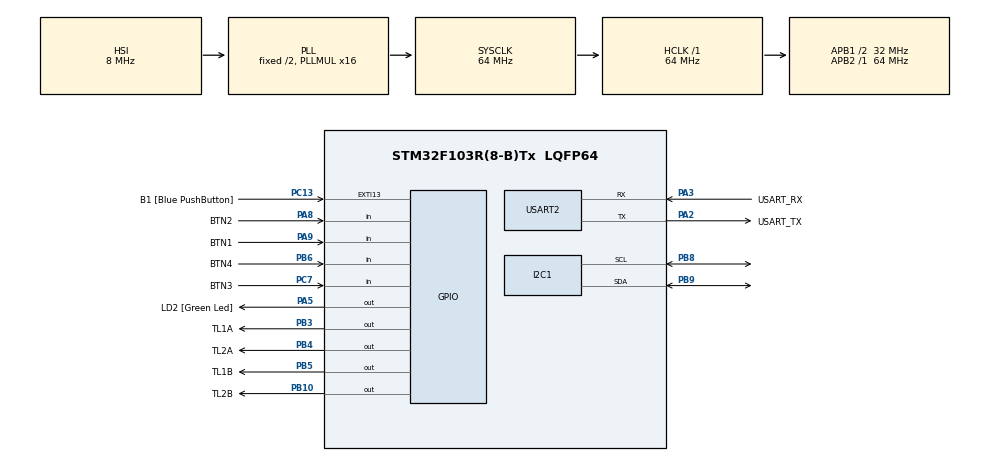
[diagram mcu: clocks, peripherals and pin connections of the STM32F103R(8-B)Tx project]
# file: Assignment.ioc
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Mcu.Family=STM32F1
Mcu.Name=STM32F103R(8-B)Tx
Mcu.Package=LQFP64
NVIC.EXTI15_10_IRQn=true\:0\:0\:false\:false\:true\:true\:true
NVIC.PriorityGroup=NVIC_PRIORITYGROUP_4
NVIC.TIM2_IRQn=true\:0\:0\:false\:false\:true\:true\:true
PA13.GPIO_Label=TMS
PA13.Mode=Serial_Wire
PA13.Signal=SYS_JTMS-SWDIO
PA14.GPIO_Label=TCK
PA14.Mode=Serial_Wire
PA14.Signal=SYS_JTCK-SWCLK
PA2.GPIO_Label=USART_TX
PA2.GPIO_Mode=GPIO_MODE_AF_PP
PA2.GPIO_PuPd=GPIO_NOPULL
PA2.GPIO_Speed=GPIO_SPEED_FREQ_LOW
PA2.Mode=Asynchronous
PA2.Signal=USART2_TX
PA3.GPIO_Label=USART_RX
PA3.GPIO_Mode=GPIO_MODE_AF_PP
PA3.GPIO_PuPd=GPIO_NOPULL
PA3.GPIO_Speed=GPIO_SPEED_FREQ_LOW
PA3.Mode=Asynchronous
PA3.Signal=USART2_RX
PA5.GPIO_Label=LD2 [Green Led]
PA5.GPIO_ModeDefaultOutputPP=GPIO_MODE_OUTPUT_PP
PA5.GPIO_PuPd=GPIO_NOPULL
PA5.GPIO_Speed=GPIO_SPEED_FREQ_LOW
PA5.Signal=GPIO_Output
PA8.GPIO_Label=BTN2
PA8.Signal=GPIO_Input
PA9.GPIO_Label=BTN1
PA9.Signal=GPIO_Input
PB10.GPIO_Label=TL2B
PB10.Signal=GPIO_Output
PB3.GPIO_Label=TL1A
PB3.Signal=GPIO_Output
PB4.GPIO_Label=TL2A
PB4.Signal=GPIO_Output
PB5.GPIO_Label=TL1B
PB5.Signal=GPIO_Output
PB6.GPIO_Label=BTN4
PB6.Signal=GPIO_Input
PB8.Mode=I2C
PB8.Signal=I2C1_SCL
PB9.Mode=I2C
PB9.Signal=I2C1_SDA
PC13-TAMPER-RTC.GPIO_Label=B1 [Blue PushButton]
PC13-TAMPER-RTC.GPIO_PuPd=GPIO_NOPULL
PC13-TAMPER-RTC.Signal=GPXTI13
PC14-OSC32_IN.Mode=LSE-External-Oscillator
PC14-OSC32_IN.Signal=RCC_OSC32_IN
PC15-OSC32_OUT.Mode=LSE-External-Oscillator
PC15-OSC32_OUT.Signal=RCC_OSC32_OUT
PC7.GPIO_Label=BTN3
PC7.Signal=GPIO_Input
PD0-OSC_IN.Mode=HSE-External-Clock-Source
PD0-OSC_IN.Signal=RCC_OSC_IN
PD1-OSC_OUT.Mode=HSE-External-Clock-Source
PD1-OSC_OUT.Signal=RCC_OSC_OUT
ProjectManager.HeapSize=0x200
ProjectManager.StackSize=0x400
ProjectManager.TargetToolchain=STM32CubeIDE
RCC.AHBFreq_Value=64000000
RCC.APB1CLKDivider=RCC_HCLK_DIV2
RCC.APB1Freq_Value=32000000
RCC.APB1TimFreq_Value=64000000
RCC.APB2Freq_Value=64000000
RCC.APB2TimFreq_Value=64000000
RCC.HCLKFreq_Value=64000000
RCC.PLLMUL=RCC_PLL_MUL16
RCC.RTCClockSelection=RCC_RTCCLKSOURCE_LSE
RCC.SYSCLKFreq_VALUE=64000000
RCC.SYSCLKSource=RCC_SYSCLKSOURCE_PLLCLK
RCC.USBFreq_Value=64000000
TIM2.Period=79
TIM2.Prescaler=7999
USART2.VirtualMode=VM_ASYNC
VP_TIM2_VS_ClockSourceINT.Mode=Internal
board=NUCLEO-F103RB

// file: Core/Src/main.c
/* USER CODE BEGIN Header */
/**
  ******************************************************************************
  * @file           : main.c
  * @brief          : Main program body
  ******************************************************************************
  * @attention
  *
  * <h2><center>&copy; Copyright (c) 2026 STMicroelectronics.
  * All rights reserved.</center></h2>
  *
  * This software component is licensed by ST under BSD 3-Clause license,
  * the "License"; You may not use this file except in compliance with the
  * License. You may obtain a copy of the License at:
  *                        opensource.org/licenses/BSD-3-Clause
  *
  ******************************************************************************
  */
/* USER CODE END Header */
#include "main.h"

/* USER CODE BEGIN Includes */
#include "scheduler.h"
#include "software_timer.h"
#include "button.h"
#include "fsm_mode.h"
#include "lcd.h"
#include "dht20.h"
#include "display.h"
/* USER CODE END Includes */

I2C_HandleTypeDef hi2c1;

TIM_HandleTypeDef htim2;

UART_HandleTypeDef huart2;

void SystemClock_Config(void);
static void MX_GPIO_Init(void);
static void MX_USART2_UART_Init(void);
static void MX_I2C1_Init(void);
static void MX_TIM2_Init(void);
/* USER CODE BEGIN PFP */
void lcd_task_ui(void);
/* USER CODE END PFP */

/* USER CODE BEGIN 0 */
void log_msg(const char *s);
/* USER CODE END 0 */

int main(void)
{

  /* MCU Configuration--------------------------------------------------------*/

  /* Reset of all peripherals, Initializes the Flash interface and the Systick. */
  HAL_Init();

  /* Configure the system clock */
  SystemClock_Config();

  /* Initialize all configured peripherals */
  MX_GPIO_Init();
  MX_USART2_UART_Init();
  MX_I2C1_Init();
  MX_TIM2_Init();
  /* USER CODE BEGIN 2 */
  lcd_init();                              // dùng HAL_Delay -> làm trước khi bật timer
  dht20_init();

  SCH_Init();
  SCH_Add_Task(timer_run,     0,  1);
  SCH_Add_Task(button_scan,   0,  1);
  SCH_Add_Task(fsm_mode_run,  0,  1);
  SCH_Add_Task(dht20_trigger, 0,  200);    // đo mỗi 2 s
  SCH_Add_Task(lcd_task_env,  50, 100);    // hàng dưới mỗi 1 s
  SCH_Add_Task(lcd_task_mode, 20, 10);     // hàng trên mỗi 100 ms

  fsm_mode_init();                         // hook ghi LCD, nên phải sau lcd_init()
  HAL_TIM_Base_Start_IT(&htim2);           // bật tick cuối cùng
  /* USER CODE END 2 */

  /* Infinite loop */
  while (1)
  {
	  SCH_Dispatch_Tasks();
  }
}

void SystemClock_Config(void)
{
  RCC_OscInitTypeDef RCC_OscInitStruct = {0};
  RCC_ClkInitTypeDef RCC_ClkInitStruct = {0};

  /** Initializes the RCC Oscillators according to the specified parameters
  * in the RCC_OscInitTypeDef structure.
  */
  RCC_OscInitStruct.OscillatorType = RCC_OSCILLATORTYPE_HSI;
  RCC_OscInitStruct.HSIState = RCC_HSI_ON;
  RCC_OscInitStruct.HSICalibrationValue = RCC_HSICALIBRATION_DEFAULT;
  RCC_OscInitStruct.PLL.PLLState = RCC_PLL_ON;
  RCC_OscInitStruct.PLL.PLLSource = RCC_PLLSOURCE_HSI_DIV2;
  RCC_OscInitStruct.PLL.PLLMUL = RCC_PLL_MUL16;
  if (HAL_RCC_OscConfig(&RCC_OscInitStruct) != HAL_OK)
  {
    Error_Handler();
  }
  /** Initializes the CPU, AHB and APB buses clocks
  */
  RCC_ClkInitStruct.ClockType = RCC_CLOCKTYPE_HCLK|RCC_CLOCKTYPE_SYSCLK
                              |RCC_CLOCKTYPE_PCLK1|RCC_CLOCKTYPE_PCLK2;
  RCC_ClkInitStruct.SYSCLKSource = RCC_SYSCLKSOURCE_PLLCLK;
  RCC_ClkInitStruct.AHBCLKDivider = RCC_SYSCLK_DIV1;
  RCC_ClkInitStruct.APB1CLKDivider = RCC_HCLK_DIV2;
  RCC_ClkInitStruct.APB2CLKDivider = RCC_HCLK_DIV1;

  if (HAL_RCC_ClockConfig(&RCC_ClkInitStruct, FLASH_LATENCY_2) != HAL_OK)
  {
    Error_Handler();
  }
}

static void MX_I2C1_Init(void)
{

  hi2c1.Instance = I2C1;
  hi2c1.Init.ClockSpeed = 100000;
  hi2c1.Init.DutyCycle = I2C_DUTYCYCLE_2;
  hi2c1.Init.OwnAddress1 = 0;
  hi2c1.Init.AddressingMode = I2C_ADDRESSINGMODE_7BIT;
  hi2c1.Init.DualAddressMode = I2C_DUALADDRESS_DISABLE;
  hi2c1.Init.OwnAddress2 = 0;
  hi2c1.Init.GeneralCallMode = I2C_GENERALCALL_DISABLE;
  hi2c1.Init.NoStretchMode = I2C_NOSTRETCH_DISABLE;
  if (HAL_I2C_Init(&hi2c1) != HAL_OK)
  {
    Error_Handler();
  }

}

static void MX_TIM2_Init(void)
{

  TIM_ClockConfigTypeDef sClockSourceConfig = {0};
  TIM_MasterConfigTypeDef sMasterConfig = {0};

  htim2.Instance = TIM2;
  htim2.Init.Prescaler = 7999;
  htim2.Init.CounterMode = TIM_COUNTERMODE_UP;
  htim2.Init.Period = 79;
  htim2.Init.ClockDivision = TIM_CLOCKDIVISION_DIV1;
  htim2.Init.AutoReloadPreload = TIM_AUTORELOAD_PRELOAD_DISABLE;
  if (HAL_TIM_Base_Init(&htim2) != HAL_OK)
  {
    Error_Handler();
  }
  sClockSourceConfig.ClockSource = TIM_CLOCKSOURCE_INTERNAL;
  if (HAL_TIM_ConfigClockSource(&htim2, &sClockSourceConfig) != HAL_OK)
  {
    Error_Handler();
  }
  sMasterConfig.MasterOutputTrigger = TIM_TRGO_RESET;
  sMasterConfig.MasterSlaveMode = TIM_MASTERSLAVEMODE_DISABLE;
  if (HAL_TIMEx_MasterConfigSynchronization(&htim2, &sMasterConfig) != HAL_OK)
  {
    Error_Handler();
  }

}

static void MX_USART2_UART_Init(void)
{

  huart2.Instance = USART2;
  huart2.Init.BaudRate = 115200;
  huart2.Init.WordLength = UART_WORDLENGTH_8B;
  huart2.Init.StopBits = UART_STOPBITS_1;
  huart2.Init.Parity = UART_PARITY_NONE;
  huart2.Init.Mode = UART_MODE_TX_RX;
  huart2.Init.HwFlowCtl = UART_HWCONTROL_NONE;
  huart2.Init.OverSampling = UART_OVERSAMPLING_16;
  if (HAL_UART_Init(&huart2) != HAL_OK)
  {
    Error_Handler();
  }

}

static void MX_GPIO_Init(void)
{
  GPIO_InitTypeDef GPIO_InitStruct = {0};

  /* GPIO Ports Clock Enable */
  __HAL_RCC_GPIOC_CLK_ENABLE();
  __HAL_RCC_GPIOD_CLK_ENABLE();
  __HAL_RCC_GPIOA_CLK_ENABLE();
  __HAL_RCC_GPIOB_CLK_ENABLE();

  /*Configure GPIO pin Output Level */
  HAL_GPIO_WritePin(LD2_GPIO_Port, LD2_Pin, GPIO_PIN_RESET);

  /*Configure GPIO pin Output Level */
  HAL_GPIO_WritePin(GPIOB, TL2B_Pin|TL1A_Pin|TL2A_Pin|TL1B_Pin, GPIO_PIN_RESET);

  /*Configure GPIO pin : B1_Pin */
  GPIO_InitStruct.Pin = B1_Pin;
  GPIO_InitStruct.Mode = GPIO_MODE_IT_RISING;
  GPIO_InitStruct.Pull = GPIO_NOPULL;
  HAL_GPIO_Init(B1_GPIO_Port, &GPIO_InitStruct);

  /*Configure GPIO pin : LD2_Pin */
  GPIO_InitStruct.Pin = LD2_Pin;
  GPIO_InitStruct.Mode = GPIO_MODE_OUTPUT_PP;
  GPIO_InitStruct.Pull = GPIO_NOPULL;
  GPIO_InitStruct.Speed = GPIO_SPEED_FREQ_LOW;
  HAL_GPIO_Init(LD2_GPIO_Port, &GPIO_InitStruct);

  /*Configure GPIO pins : TL2B_Pin TL1A_Pin TL2A_Pin TL1B_Pin */
  GPIO_InitStruct.Pin = TL2B_Pin|TL1A_Pin|TL2A_Pin|TL1B_Pin;
  GPIO_InitStruct.Mode = GPIO_MODE_OUTPUT_PP;
  GPIO_InitStruct.Pull = GPIO_NOPULL;
  GPIO_InitStruct.Speed = GPIO_SPEED_FREQ_LOW;
  HAL_GPIO_Init(GPIOB, &GPIO_InitStruct);

  /*Configure GPIO pin : BTN3_Pin */
  GPIO_InitStruct.Pin = BTN3_Pin;
  GPIO_InitStruct.Mode = GPIO_MODE_INPUT;
  GPIO_InitStruct.Pull = GPIO_NOPULL;
  HAL_GPIO_Init(BTN3_GPIO_Port, &GPIO_InitStruct);

  /*Configure GPIO pins : BTN2_Pin BTN1_Pin */
  GPIO_InitStruct.Pin = BTN2_Pin|BTN1_Pin;
  GPIO_InitStruct.Mode = GPIO_MODE_INPUT;
  GPIO_InitStruct.Pull = GPIO_NOPULL;
  HAL_GPIO_Init(GPIOA, &GPIO_InitStruct);

  /*Configure GPIO pin : BTN4_Pin */
  GPIO_InitStruct.Pin = BTN4_Pin;
  GPIO_InitStruct.Mode = GPIO_MODE_INPUT;
  GPIO_InitStruct.Pull = GPIO_NOPULL;
  HAL_GPIO_Init(BTN4_GPIO_Port, &GPIO_InitStruct);

  /* EXTI interrupt init*/
  HAL_NVIC_SetPriority(EXTI15_10_IRQn, 0, 0);
  HAL_NVIC_EnableIRQ(EXTI15_10_IRQn);

}

/* USER CODE BEGIN 4 */
void HAL_TIM_PeriodElapsedCallback(TIM_HandleTypeDef *htim)
{
  if (htim->Instance == TIM2) SCH_Update();   /* tick 10 ms */
}
__attribute__((weak)) void lcd_task_ui(void) { }
/* USER CODE END 4 */

void Error_Handler(void)
{
  __disable_irq();
  while (1)
  {
  }
}

/************************ (C) COPYRIGHT STMicroelectronics *****END OF FILE****/
